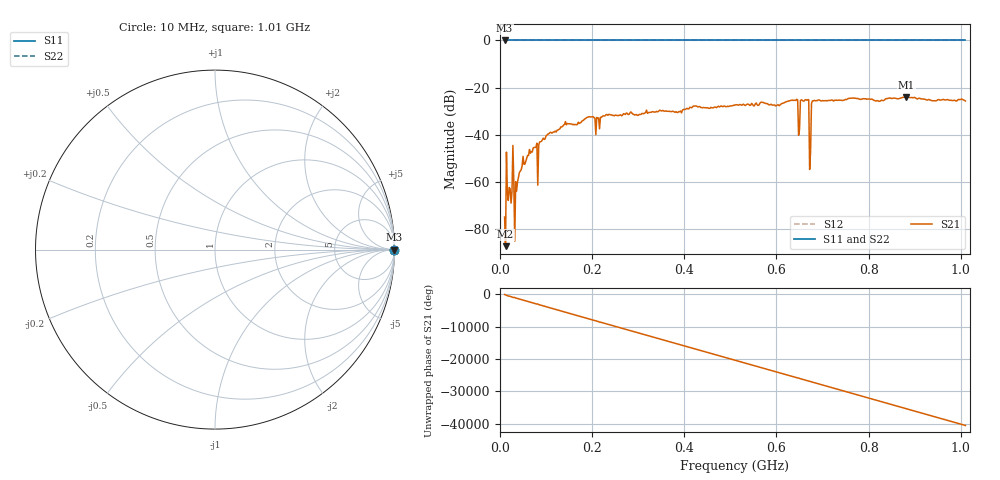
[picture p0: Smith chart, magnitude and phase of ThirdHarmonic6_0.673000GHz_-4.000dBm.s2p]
! 8/15/2025 10:24:15 PM
! C:\ANRITSUVNA\TEMP\TEMP.S2P
! CHANNEL.1
! TR.MEASUREMENT
! RAW.DATA
! RF.CORRECTION.OFF
! AVERAGING.OFF
! IF.BANDWIDTH: 5KHZ
! SWEEPTYPE:  FREQ.SWEEP(Linear)
! Reference Plane Port Info
! PORT:  PORT1  PORT2
! DISTANCE:  0  m  0  m
! TIME:  0  s  0  s
! PHASE.OFFSET:  0  deg.  0  deg.
! LOSS:  0  dB  0  dB
! REF.LOSS:  0  dB  0  dB
! REF.FREQ:  0  Hz  0  Hz
! Power Info
! POWER:  -20  dBm  -20  dBm
! EFF.POWER:  -20  dBm  -20  dBm
! SOURCE.ATTEN:  0  dB  0  dB
! TEST.ATTEN:  0  dB  0  dB
# GHZ S RI R 50.0
! FREQ.GHZ  S11RE  S11IM  S21RE  S21IM  S12RE  S12IM  S22RE  S22IM
!; PortSelection: Port_12
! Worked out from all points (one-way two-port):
!   501 points, 10 MHz to 1.01 GHz, reference 50 ohm
!   highest |S21| = -24.03 dB at 882 MHz (marker M1); lowest = -87.4 dB at 12 MHz (marker M2)
!   lowest |S11| = 0.0 dB at 10 MHz (marker M3)
!   |S11| at or under -10 dB: nowhere
!   |S22| runs from 0.0 to 0.0 dB; largest |S21 - S12| = 1.1
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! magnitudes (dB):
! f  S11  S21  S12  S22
! 10 MHz  0.0  -75.1  0.0  0.0
! 12 MHz  0.0  -87.4  0.0  0.0
! 18 MHz  0.0  -68.0  0.0  0.0
! 20 MHz  0.0  -62.5  0.0  0.0
! 26 MHz  0.0  -64.4  0.0  0.0
! 36 MHz  0.0  -64.0  0.0  0.0
! 46 MHz  0.0  -54.9  0.0  0.0
! 76 MHz  0.0  -45.5  0.0  0.0
! 178 MHz  0.0  -34.2  0.0  0.0
! 344 MHz  0.0  -30.1  0.0  0.0
! 510 MHz  0.0  -27.4  0.0  0.0
! 642 MHz  0.0  -25.5  0.0  0.0
! 652 MHz  0.0  -25.5  0.0  0.0
! 656 MHz  0.0  -25.4  0.0  0.0
! 666 MHz  0.0  -25.5  0.0  0.0
! 670 MHz  0.0  -25.2  0.0  0.0
! 676 MHz  0.0  -26.8  0.0  0.0
! 678 MHz  0.0  -25.7  0.0  0.0
! 682 MHz  0.0  -25.4  0.0  0.0
! 844 MHz  0.0  -24.6  0.0  0.0
! 882 MHz  0.0  -24.0  0.0  0.0
! 1.01 GHz  0.0  -25.7  0.0  0.0
